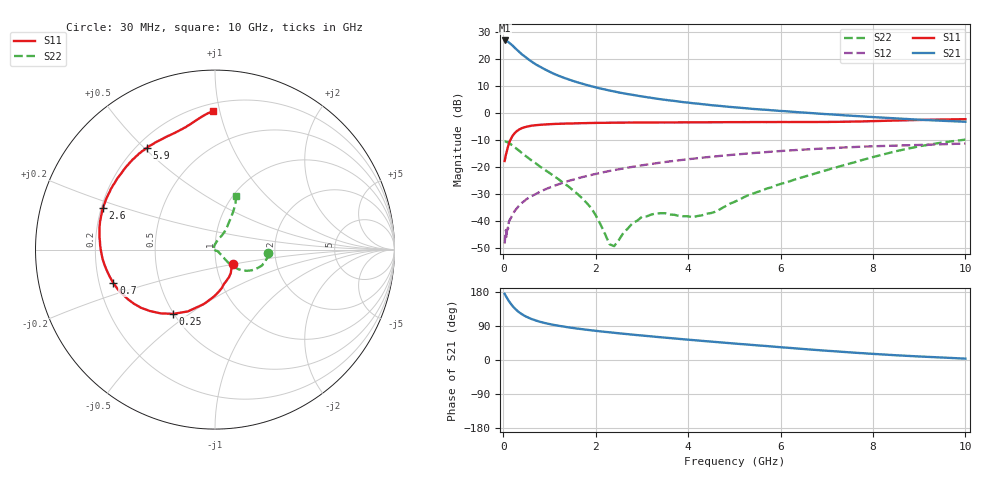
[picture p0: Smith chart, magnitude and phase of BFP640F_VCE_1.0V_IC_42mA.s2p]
! Infineon Technologies  Discrete & RF Semiconductors
! BFP640F
! VCE =  1.0 V,  IC =  42 mA
! Common Emitter S-Parameters:  Apr 2013
# GHz  S  MA  R  50
!  f  S11  S21  S12  S22
! GHz  MAG  ANG  MAG  ANG  MAG  ANG  MAG  ANG
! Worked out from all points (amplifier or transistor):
!   99 points, 30 MHz to 10 GHz, reference 50 ohm
!   highest |S21| = 26.9 dB at 30 MHz (marker M1)
!   |S21| within 3 dB of that: start of sweep to 268 MHz
!   unconditionally stable (mu >= 1): start of sweep to end of sweep
!   at 350 MHz: K = 1.38, MAG = 24.7 dB, |S12| = -34.1 dB
!   at 3.5 GHz: K = 1.38, MAG = 7.9 dB, |S12| = -18.2 dB
!   at 10 GHz: K = 1.25, MAG = 1.0 dB, |S12| = -11.3 dB
!   S11 on the Smith chart (normalised r, x): 30 MHz: 1.21, -0.20; 250 MHz: 0.50, -0.43; 700 MHz: 0.26, -0.15; 2.6 GHz: 0.21, +0.17; 5.9 GHz: 0.24, +0.51; 10 GHz: 0.25, +0.95
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0.03  0.1293 -38.7  22.24 174.6  0.0038 28.2  0.2962 -3.3
0.04  0.1392 -48.8  21.92 172.6  0.0048 37.7  0.2972 -5.0
0.05  0.1575 -56.1  22.18 170.5  0.0061 43.3  0.2979 -7.1
0.09  0.218 -80.1  21.24 162.0  0.0068 53.4  0.2893 -12.7
0.13  0.2807 -96.0  20.16 154.3  0.0099 55.0  0.2782 -17.9
0.2  0.3755 -113.6  17.96 142.7  0.0129 59.8  0.2505 -25.9
0.25  0.4271 -123.0  16.27 136.1  0.0154 60.6  0.2327 -29.9
0.35  0.4989 -136.7  13.56 125.3  0.0197 60.9  0.1988 -36.1
0.45  0.5427 -146.2  11.47 117.4  0.0231 62.0  0.1699 -40.0
0.6  0.5812 -156.4  9.164 108.8  0.0284 62.6  0.1349 -43.2
0.7  0.5962 -161.6  8.046 104.4  0.0314 63.0  0.1179 -43.9
0.9  0.6146 -169.3  6.472 97.6  0.0382 64.2  0.0888 -44.1
1.1  0.6286 -175.3  5.331 92.5  0.0447 64.8  0.0676 -42.9
1.7  0.6495 172.3  3.529 81.4  0.0646 64.5  0.0267 -34.2
2.3  0.6617 163.5  2.619 73.1  0.0844 62.6  0.0037 -85.0
2.6  0.6652 159.5  2.33 69.3  0.094 61.2  0.006 -170.4
3.4  0.6714 149.8  1.808 60.1  0.1204 56.8  0.0139 174.8
5.1  0.6793 131.4  1.262 42.5  0.1723 46.1  0.0246 95.6
5.9  0.6822 123.6  1.114 34.8  0.1948 40.7  0.0455 78.0
6.7  0.6834 114.8  0.996 27.1  0.215 35.0  0.0736 67.5
8.5  0.7286 98.2  0.797 12.5  0.2494 22.9  0.1965 63.4
10  0.7713 90.8  0.691 3.6  0.2728 15.3  0.3221 68.7
